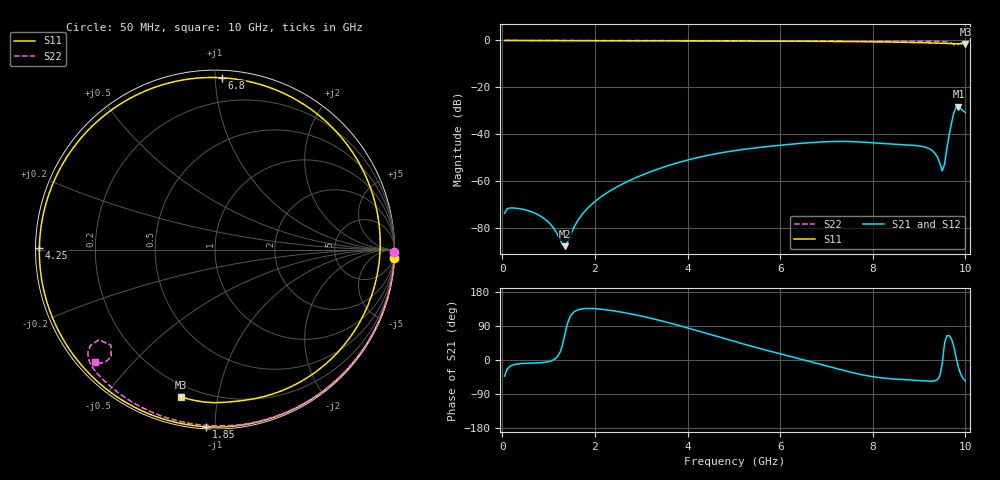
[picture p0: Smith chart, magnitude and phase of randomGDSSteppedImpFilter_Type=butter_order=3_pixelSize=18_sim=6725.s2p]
! freq	dB(S11)	phase(S11)	dB(S12)	phase(S12)
!  dB(S21)	phase(S21)	dB(S22)	phase(S22)
!S-par simulation data
#  GHz  S  DB  R 50
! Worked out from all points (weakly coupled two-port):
!   200 points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, 50 MHz to 10 GHz, reference 50 ohm
!   highest |S21| = -28.25 dB at 9.85 GHz (marker M1); lowest = -87.6 dB at 1.35 GHz (marker M2)
!   lowest |S11| = -1.5 dB at 10 GHz (marker M3), VSWR 11.69, Z = 6.95 - j39.3 ohm
!   |S11| at or under -10 dB: nowhere
!   |S22| runs from -2.1 to 0.0 dB; largest |S21 - S12| = 0
!   S11 on the Smith chart (normalised r, x): 50 MHz: 0, -42; 1.85 GHz: 0.01, -0.95; 4.25 GHz: 0.01, +0.01; 6.8 GHz: 0.04, +1.04; 10 GHz: 0.14, -0.79
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0.05  -0.00 -2.8  -73.59 -42.9  -73.59 -42.9  -0.00 -0.8
0.5  -0.03 -27.3  -72.20 -8.9  -72.20 -8.9  -0.01 -8.1
1.1  -0.07 -58.2  -79.73 0.1  -79.73 0.1  -0.02 -17.8
1.35  -0.08 -70.3  -87.63 66.9  -87.63 66.9  -0.03 -21.8
1.55  -0.09 -79.6  -79.54 126.8  -79.54 126.8  -0.03 -25.0
1.75  -0.10 -88.6  -73.51 135.2  -73.51 135.2  -0.04 -28.1
1.85  -0.10 -93.0  -71.33 135.9  -71.33 135.9  -0.04 -29.7
2.45  -0.12 -117.6  -62.67 128.8  -62.67 128.8  -0.05 -39.0
3.4  -0.15 -152.2  -54.53 104.4  -54.53 104.4  -0.07 -53.4
4.25  -0.19 179.4  -49.75 75.9  -49.75 75.9  -0.09 -65.9
5.05  -0.23 152.9  -46.85 47.5  -46.85 47.5  -0.12 -77.2
6.7  -0.36 91.9  -43.47 -5.9  -43.47 -5.9  -0.19 -99.5
6.8  -0.37 87.7  -43.35 -9.1  -43.35 -9.1  -0.20 -100.8
7.55  -0.48 53.3  -43.09 -33.0  -43.09 -33.0  -0.25 -110.5
8.35  -0.67 10.4  -44.10 -49.1  -44.10 -49.1  -0.31 -120.7
9.2  -1.02 -43.3  -45.96 -56.0  -45.96 -56.0  -0.40 -132.1
9.4  -1.14 -57.2  -49.86 -51.3  -49.86 -51.3  -0.46 -135.2
9.5  -1.21 -64.4  -55.59 -10.0  -55.59 -10.0  -0.51 -137.2
9.55  -1.24 -68.1  -52.73 44.5  -52.73 44.5  -0.57 -138.3
9.75  -1.38 -82.7  -30.88 35.8  -30.88 35.8  -1.73 -142.1
9.85  -1.38 -90.4  -28.25 -19.9  -28.25 -19.9  -1.62 -134.1
10  -1.49 -103.0  -30.68 -56.0  -30.68 -56.0  -0.76 -136.7
